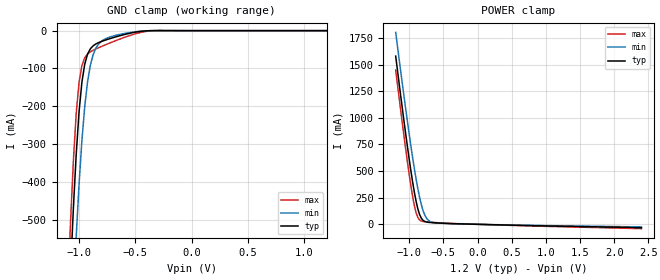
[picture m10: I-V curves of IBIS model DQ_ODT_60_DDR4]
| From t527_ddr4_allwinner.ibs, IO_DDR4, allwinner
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|   Model DQ_ODT_60_DDR4
[Model] DQ_ODT_60_DDR4
Model_type Input
Polarity   Non-Inverting
Enable   Active-High
Vinl =  0.600V
Vinh =  0.600V
C_comp   1.576pF   1.540pF   1.623pF
C_comp_power_clamp   0.471pF   0.453pF   0.492pF
C_comp_gnd_clamp   0.846pF   0.823pF   0.870pF
[Model Spec]
Vinh   0.600V   0.570V   0.630V
Vinl   0.600V   0.570V   0.630V
[Temperature Range]   25.000   0.125k   -40.000
[Voltage Range]   1.200V   1.140V   1.260V
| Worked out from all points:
|   GND clamp passes 1 mA (typ) near -0.42 V on its own axis
|   POWER clamp passes 1 mA (typ) near -0.06 V on its own axis
[GND_clamp]
|Voltage   I(typ)   I(min)   I(max)
-1.2V     -1.576A    -1.763A    -1.484A
-1.1V     -811.4mA   -1.04A     -684.2mA
-1.075V   -632mA     -864.9mA   -501.7mA
-1.05V    -467.5mA   -698mA     -342.2mA
-1.025V   -325.9mA   -543.6mA   -218mA
-1V       -214.5mA   -406.7mA   -136.6mA
-950mV    -89.16mA   -201.6mA   -71.84mA
-925mV    -62.54mA   -136.1mA   -61.76mA
-875mV    -40.15mA   -63.45mA   -51.84mA
-775mV    -25.87mA   -22.95mA   -38.61mA
-475mV    -2.794mA   -2.082mA   -6.407mA
1.2V      0A         0A         0A
[POWER_clamp]
|Voltage   I(typ)   I(min)   I(max)
-1.2V     1.579A     1.802A     1.448A
-1.1V     1.075A     1.307A     935.2mA
-1.025V   715.3mA    950.9mA    571.3mA
-975mV    492.7mA    726.1mA    351.4mA
-925mV    295.8mA    517.1mA    170.7mA
-900mV    212.6mA    421.1mA    106.1mA
-850mV    91.99mA    253.4mA    41.21mA
-800mV    37.78mA    130.1mA    26.46mA
-725mV    18.93mA    39.73mA    21.31mA
-625mV    13.87mA    14.05mA    16.89mA
-375mV    6.536mA    5.605mA    7.919mA
2.4V      -31.61mA   -24.55mA   -40.83mA
